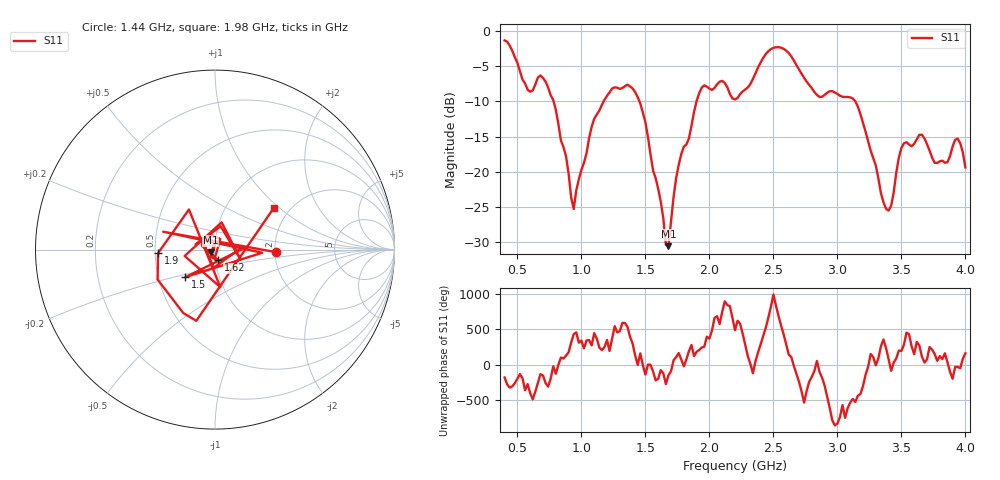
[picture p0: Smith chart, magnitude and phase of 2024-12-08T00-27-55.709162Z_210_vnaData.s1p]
!Created with skrf (http://scikit-rf.org).
# Hz S RI R 50.0
!freq ReS11 ImS11
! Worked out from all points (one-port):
!   181 points, 400 MHz to 4 GHz, reference 50 ohm
!   lowest |S11| = -30.5 dB at 1.68 GHz (marker M1), VSWR 1.06, Z = 47.5 - j1.53 ohm
!   |S11| at or under -10 dB: 782.7 MHz to 1.174 GHz (391.6 MHz wide, 40 % of centre); 1.453 GHz to 1.9 GHz (446.5 MHz wide, 26.6 % of centre); 3.14 GHz to end of sweep
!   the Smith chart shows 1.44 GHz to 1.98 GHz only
!   S11 on the Smith chart (normalised r, x): 1.44 GHz: 2.02, -0.06; 1.5 GHz: 0.69, -0.22; 1.62 GHz: 1.03, -0.12; 1.9 GHz: 0.52, -0.02; 1.98 GHz: 1.66, +0.92
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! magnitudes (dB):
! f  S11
! 400 MHz  -1.4
! 580 MHz  -8.4
! 720 MHz  -7.2
! 860 MHz  -16.5
! 940 MHz  -25.3
! 1.1 GHz  -12.5
! 1.3 GHz  -8.2
! 1.44 GHz  -9.4
! 1.5 GHz  -13.0
! 1.62 GHz  -24.2
! 1.68 GHz  -30.5
! 1.76 GHz  -19.0
! 1.9 GHz  -10.0
! 1.98 GHz  -7.9
! 2.2 GHz  -9.7
! 2.48 GHz  -2.6
! 2.66 GHz  -4.2
! 2.86 GHz  -9.4
! 3.1 GHz  -9.4
! 3.18 GHz  -11.8
! 3.38 GHz  -25.2
! 3.42 GHz  -24.8
! 3.5 GHz  -16.6
! 3.56 GHz  -16.1
! 3.66 GHz  -14.7
! 3.84 GHz  -18.7
! 3.94 GHz  -15.3
! 4 GHz  -19.4
